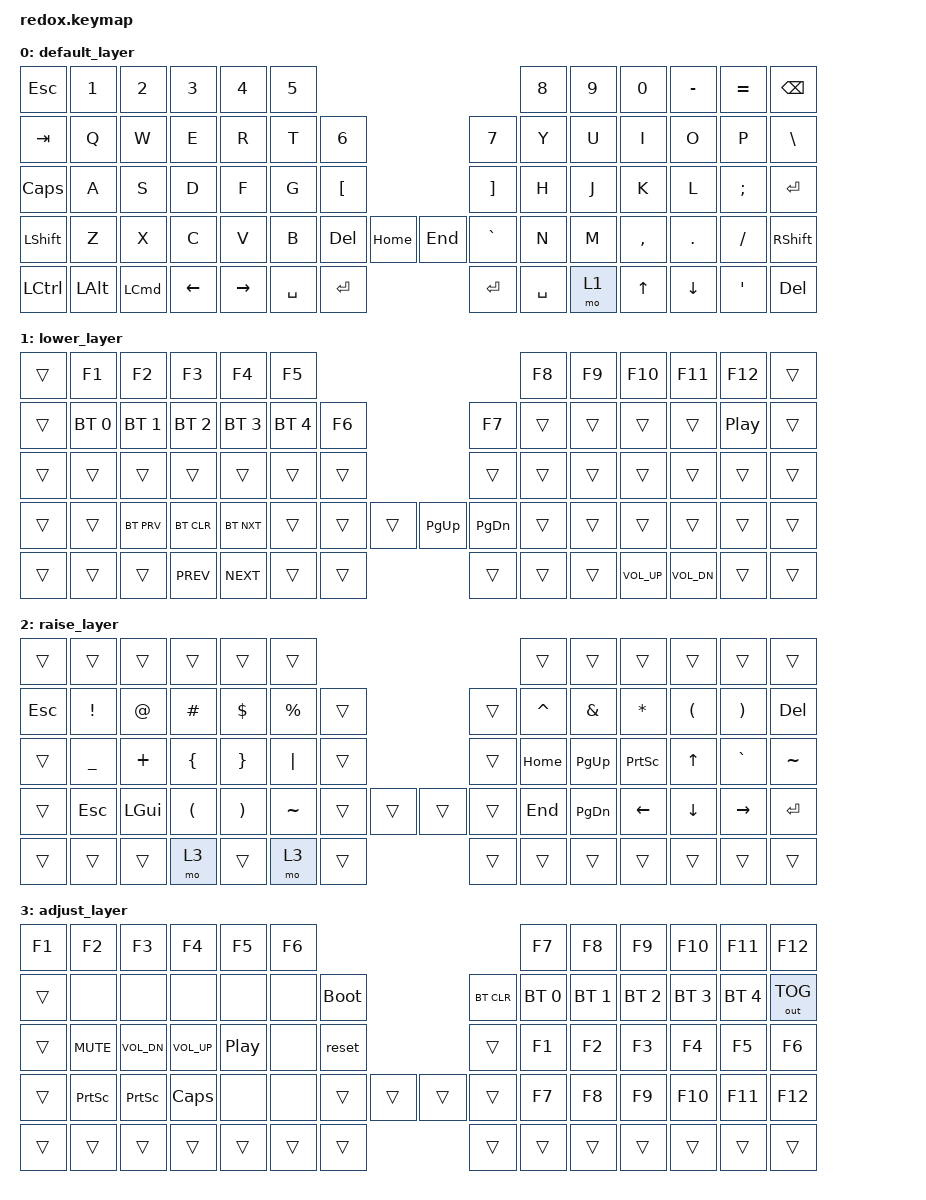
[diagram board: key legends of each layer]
/*
 * Copyright (c) 2021 The ZMK Contributors
 *
 * SPDX-License-Identifier: MIT
 */

#include <behaviors.dtsi>
#include <dt-bindings/zmk/keys.h>
#include <dt-bindings/zmk/bt.h>
#include <dt-bindings/zmk/ext_power.h>
#include <dt-bindings/zmk/outputs.h>

/ {
    keymap {
        compatible =  "zmk,keymap" ;

        default_layer {
// --------------------------------------------------------------------------------------------------------------------------------
// | ESC   |  1  |  2  |   3   |  4  |  5  |                   ---                |  8    |  9    |  0    |  _   | =  |    BKSP   |
// | TAB   |  Q  |  W  |   E   |  R  |  T  |   6   |           ---        |  7    |  Y    |  U    |  I    |  O   | P  |     -     |
// | CAPS  |  A  |  S  |   D   |  F  |  G  |   [   |           ---        |  ]    |  H    |  J    |  K    |  L   | ;  |    ENTER  |
// | SHIFT |  Z  |  X  |   C   |  V  |  B  |  DEL  |  HOME  | --- | END   | GRAVE |  N    |  M    |  ,    |  .   | /  | SHFT(RET) |
// | CRTL  | ALT | CMD | LEFT  |  RIGHT    | SPACE | ENTER  | --- | ENTER | SPACE |     LOWER     |  UP   | DOWN | '  |    DEL    |
            bindings = <
   &kp ESC   &kp N1   &kp N2   &kp N3 &kp N4   &kp N5                                           &kp N8    &kp N9 &kp N0    &kp MINUS &kp EQUAL &kp BSPC
   &kp TAB   &kp Q    &kp W    &kp E  &kp R    &kp T  &kp N6                          &kp N7    &kp Y     &kp U  &kp I     &kp O     &kp P     &kp BSLH
   &kp CAPS  &kp A    &kp S    &kp D  &kp F    &kp G  &kp LBKT                        &kp RBKT  &kp H     &kp J  &kp K     &kp L     &kp SEMI  &kp ENTER
   &kp LSHFT &kp Z    &kp X    &kp C  &kp V    &kp B  &kp DEL   &kp HOME   &kp END    &kp GRAVE &kp N     &kp M  &kp COMMA &kp DOT   &kp FSLH  &kp RSHFT
   &kp LCTRL &kp LALT &kp LCMD &kp LEFT  &kp RIGHT    &kp SPACE &kp ENTER  &kp ENTER  &kp SPACE &mo 1            &kp UP    &kp DOWN  &kp APOS  &kp DEL
            >;

        };
        
        lower_layer {
// --------------------------------------------------------------------------------------------------------------------------
// |       |  F1 |  F2 |   F3  |   F4  |  F5 |               ---              |  F8 |  F9 |  F10 |  F11 | F12 |       |
// |       | BT1 | BT2 |  BT3  |  BT4  | BT5 |  F6   |       ---        | F7  |     |     |      |      |Play |       |
// |       |     |     |       |       |     |       |       ---        |     |     |     |      |      |     |       |
// |       |     |BTPRV| BT CLR|BT_NXT |     |       |     | --- | PG_UP|PG_DN|     |     |      |      |     |       |
// |       |     |     |PreSong|  NxtSong    |       |     | --- |      |     |           |VolUp |VolDn |     |       |
            bindings = <
   &trans  &kp F1       &kp F2       &kp F3       &kp F4       &kp F5                                       &kp F8    &kp F9    &kp F10        &kp F11      &kp F12  &trans
   &trans  &bt BT_SEL 0 &bt BT_SEL 1 &bt BT_SEL 2 &bt BT_SEL 3 &bt BT_SEL 4 &kp F6                   &kp F7    &trans    &trans    &trans       &trans       &kp C_PP &trans
   &trans  &trans       &trans       &trans       &trans       &trans       &trans                   &trans    &trans    &trans    &trans       &trans       &trans   &trans
   &trans  &trans       &bt BT_PRV   &bt BT_CLR   &bt BT_NXT   &trans       &trans &trans  &kp PG_UP &kp PG_DN &trans    &trans    &trans       &trans       &trans   &trans
   &trans  &trans       &trans       &kp C_PREV         &kp C_NEXT          &trans &trans  &trans    &trans       &trans           &kp C_VOL_UP &kp C_VOL_DN &trans   &trans
            >;
        };

        raise_layer {
// ----------------------------------------------------------------------------------------------------------------------------
// | ESC   |  1  |  2  |   3   |  4  |  5  |                   ---                |  6   |  7   |  8   |  9   |  0    |  DEL  |
// | ESC   |  !  |  @  |   #   |  $  |  %  |   (   |           ---        |  )    |  ^   |  &   |  *   |  (   |  )    |  DEL  |
// | CTRL  |  _  |  +  |   {   |  }  | "|" |   [   |           ---        |  ]    | HOME | PGUP | PRSC | UP   |  `    |   ~   |
// | SHIFT | ESC | GUI |   (   |  )  |     | PG_UP | PG_DOWN | --- | HOME | END   | END  | PGDN | LEFT | DOWN | RIGHT |  RET  |
// | CRTL  | ALT | GUI | LOWER |    GUI    | LOWER | SPACE   | --- | DEL  | SPACE |    RAISE    | LEFT | DOWN | UP    | RIGHT |
            bindings = <
   &trans  &trans    &trans   &trans   &trans   &trans                                &trans    &trans    &trans    &trans   &trans    &trans
   &kp ESC &kp EXCL  &kp AT   &kp HASH &kp DLLR &kp PRCNT &trans               &trans &kp CARET &kp AMPS  &kp ASTRK &kp LPAR &kp RPAR  &kp DEL
   &trans  &kp UNDER &kp PLUS &kp LBRC &kp RBRC &kp PIPE  &trans               &trans &kp HOME  &kp PG_UP &kp PSCRN &kp UP   &kp GRAVE &kp TILDE
   &trans  &kp ESC   &kp LGUI &kp LPAR &kp RPAR &kp TILDE &trans &trans &trans &trans &kp END   &kp PG_DN &kp LEFT  &kp DOWN &kp RIGHT &kp RET
   &trans  &trans    &trans   &mo 3         &trans        &mo 3  &trans &trans &trans        &trans       &trans    &trans   &trans    &trans
            >;
        };
        
        adjust_layer {
// -----------------------------------------------------------------------------------------
// |  F1   |  F2   |    F3    |    F4     |     F5     | F6 |                   ---                | F7  | F8  |  F9  |  F10 | F11 | F12        |
// | TAB   |       |          |           |            |    | BOOTL |           ---        |  )    | BT1 | BT2 |  BT3 |  BT4 | BT5 | OUTPUT TGL |
// | CTRL  | MUTE  |  Vol Dn  |  Vol Up   | Play/Pause |    | RESET |           ---        |  ]    | F1  | F2  |  F3  |  F4  | F5  | F6         |
// | SHIFT | PSCRN |  PSCRN   |   CAPS    |            |    | PG_UP | PG_DOWN | --- | HOME | END   | F7  | F8  |  F9  |  F10 | F11 | F12        |
// | CRTL  | ALT   |  GUI     |   LOWER   |      GUI        | LOWER | SPACE   | --- | DEL  | SPACE |   RAISE   | LEFT | DOWN | UP  |   RIGHT    |
                        bindings = <
   &kp F1  &kp F2     &kp F3       &kp F4       &kp F5           &kp F6                                 &kp F7       &kp F8       &kp F9       &kp F10      &kp F11       &kp F12
   &trans  &none      &none        &none        &none            &none  &bootloader          &bt BT_CLR &bt BT_SEL 0 &bt BT_SEL 1 &bt BT_SEL 2 &bt BT_SEL 3 &bt BT_SEL 4  &out OUT_TOG
   &trans  &kp K_MUTE &kp C_VOL_DN &kp C_VOL_UP &kp C_PLAY_PAUSE &none  &reset               &trans     &kp F1       &kp F2       &kp F3       &kp F4       &kp F5        &kp F6
   &trans  &kp PSCRN  &kp PSCRN    &kp CLCK     &none            &none  &trans &trans &trans &trans     &kp F7       &kp F8       &kp F9       &kp F10      &kp F11       &kp F12
   &trans  &trans     &trans       &trans              &trans           &trans &trans &trans &trans          &trans           &trans       &trans       &trans        &trans
            >;
        };
    };
};
